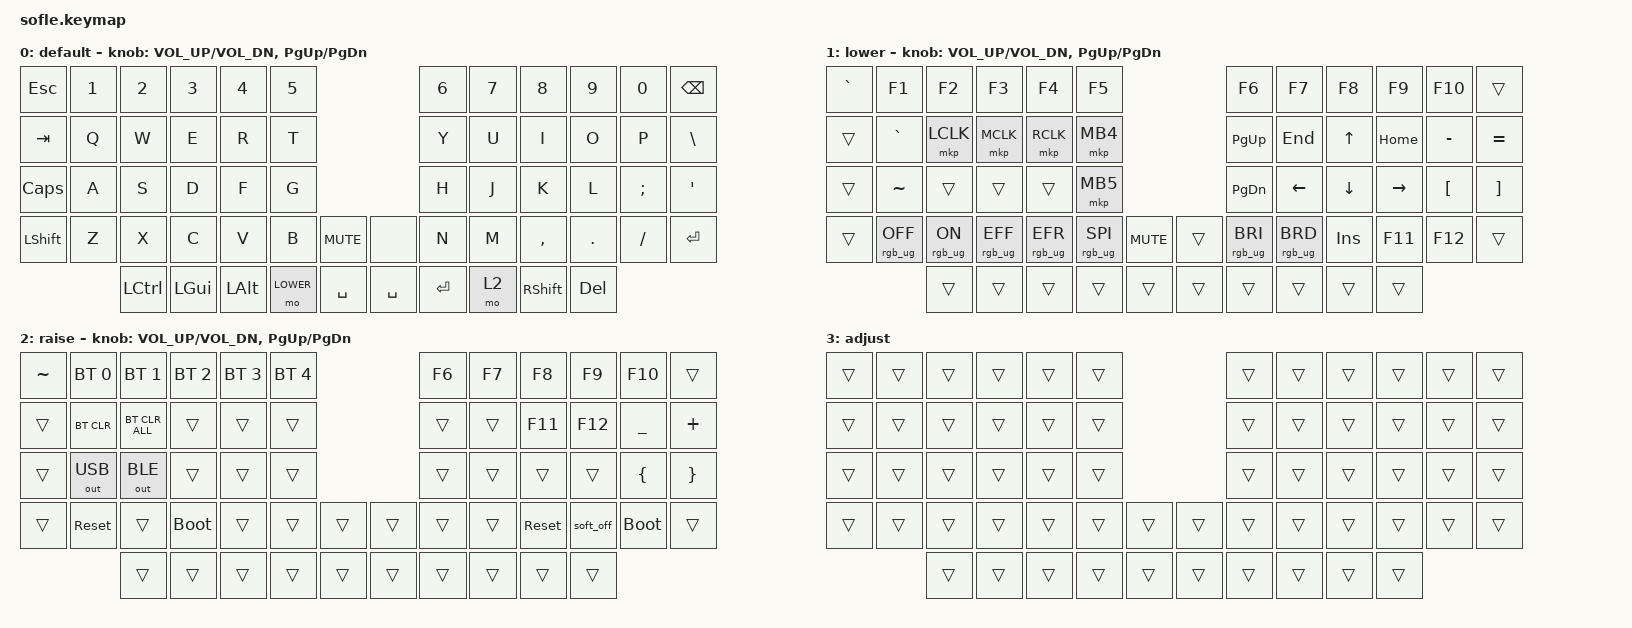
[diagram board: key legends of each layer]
/*
 * Copyright (c) 2020 The ZMK Contributors
 *
 * SPDX-License-Identifier: MIT
 */

#include <behaviors.dtsi>
#include <dt-bindings/zmk/bt.h>
#include <dt-bindings/zmk/keys.h>
#include <dt-bindings/zmk/outputs.h>
#include <dt-bindings/zmk/pointing.h>
#include <dt-bindings/zmk/rgb.h>

#define BASE 0
#define LOWER 1
#define RAISE 2
#define ADJUST 3

/ {
    // Activate ADJUST layer by pressing raise and lower

    conditional_layers {
        compatible = "zmk,conditional-layers";

        adjust_layer {
            if-layers = <LOWER RAISE>;
            then-layer = <ADJUST>;
        };
    };

    keymap {
        compatible = "zmk,keymap";

        default_layer {
            label = "default";

            // ------------------------------------------------------------------------------------------------------------
            // |   `   |  1  |  2  |  3   |  4   |  5   |                   |  6   |  7    |  8    |  9   |   0   |       |
            // |  ESC  |  Q  |  W  |  E   |  R   |  T   |                   |  Y   |  U    |  I    |  O   |   P   | BKSPC |
            // |  TAB  |  A  |  S  |  D   |  F   |  G   |                   |  H   |  J    |  K    |  L   |   ;   |   '   |
            // | SHIFT |  Z  |  X  |  C   |  V   |  B   |  MUTE  |  |       |  N   |  M    |  ,    |  .   |   /   | SHIFT |
            //               | GUI | ALT  | CTRL | LOWER|  ENTER |  | SPACE | RAISE| CTRL  | ALT   | GUI  |

            bindings = <
&kp ESC    &kp N1  &kp N2     &kp N3        &kp N4        &kp N5                              &kp N6     &kp N7  &kp N8           &kp N9      &kp N0    &kp BACKSPACE
&kp TAB    &kp Q   &kp W      &kp E         &kp R         &kp T                               &kp Y      &kp U   &kp I            &kp O       &kp P     &kp BSLH
&kp CAPS   &kp A   &kp S      &kp D         &kp F         &kp G                               &kp H      &kp J   &kp K            &kp L       &kp SEMI  &kp APOS
&kp LSHFT  &kp Z   &kp X      &kp C         &kp V         &kp B      &kp C_MUTE    &none      &kp N      &kp M   &kp COMMA        &kp DOT     &kp FSLH  &kp ENTER
                   &kp LCTRL  &kp LEFT_GUI  &kp LEFT_ALT  &mo LOWER  &kp SPACE     &kp SPACE  &kp ENTER  &mo 2   &kp RIGHT_SHIFT  &kp DELETE
            >;

            sensor-bindings = <&inc_dec_kp C_VOL_UP C_VOL_DN &inc_dec_kp PG_UP PG_DN>;
        };

        lower_layer {
            label = "lower";

            // TODO: Some binds are waiting for shifted keycode support.
            // ------------------------------------------------------------------------------------------------------------
            // |       |  F1 |  F2 |  F3  |  F4  |  F5  |                   |  F6  |  F7   |  F8   |  F9  |  F10  |  F11  |
            // |   `   |  1  |  2  |  3   |  4   |  5   |                   |  6   |  7    |  8    |  9   |   0   |  F12  |
            // |       |  !  |  @  |  #   |  $   |  %   |                   |  ^   |  &    |  *    |  (   |   )   |   |   |
            // |       |  =  |  -  |  +   |  {   |  }   |        |  |       |  [   |  ]    |  ;    |  :   |   \   |       |
            //               |     |      |      |      |        |  |       |      |       |       |      |

            bindings = <
&kp GRAVE  &kp F1           &kp F2          &kp F3           &kp F4           &kp F5                                 &kp F6           &kp F7           &kp F8    &kp F9     &kp F10           &trans
&trans     &kp GRAVE        &mkp LCLK       &mkp MCLK        &mkp RCLK        &mkp MB4                               &kp PG_UP        &kp END          &kp UP    &kp HOME   &kp MINUS         &kp EQUAL
&trans     &kp TILDE        &trans          &trans           &trans           &mkp MB5                               &kp PG_DN        &kp LEFT         &kp DOWN  &kp RIGHT  &kp LEFT_BRACKET  &kp RIGHT_BRACKET
&trans     &rgb_ug RGB_OFF  &rgb_ug RGB_ON  &rgb_ug RGB_EFF  &rgb_ug RGB_EFR  &rgb_ug RGB_SPI  &kp C_MUTE    &trans  &rgb_ug RGB_BRI  &rgb_ug RGB_BRD  &kp INS   &kp F11    &kp F12           &trans
                            &trans          &trans           &trans           &trans           &trans        &trans  &trans           &trans           &trans    &trans
            >;

            sensor-bindings = <&inc_dec_kp C_VOL_UP C_VOL_DN &inc_dec_kp PG_UP PG_DN>;
        };

        raise_layer {
            label = "raise";

            // ------------------------------------------------------------------------------------------------------------
            // | BTCLR | BT1  | BT2  |  BT3  |  BT4  |  BT5 |                |      |      |       |      |       |       |
            // |       | INS  | PSCR | GUI   |       |      |                | PGUP |      |   ^   |      |       |       |
            // |       | ALT  | CTRL | SHIFT |       | CAPS |                | PGDN |   <- |   v   |  ->  |  DEL  | BKSPC |
            // |       | UNDO | CUT  | COPY  | PASTE |      |      |  |      |      |      |       |      |       |       |
            //                |      |       |       |      |      |  |      |      |      |       |      |

            bindings = <
&kp TILDE  &bt BT_SEL 0  &bt BT_SEL 1    &bt BT_SEL 2  &bt BT_SEL 3  &bt BT_SEL 4                    &kp F6  &kp F7  &kp F8      &kp F9     &kp F10      &trans
&trans     &bt BT_CLR    &bt BT_CLR_ALL  &trans        &trans        &trans                          &trans  &trans  &kp F11     &kp F12    &kp UNDER    &kp PLUS
&trans     &out OUT_USB  &out OUT_BLE    &trans        &trans        &trans                          &trans  &trans  &trans      &trans     &kp LBRC     &kp RBRC
&trans     &sys_reset    &trans          &bootloader   &trans        &trans        &trans    &trans  &trans  &trans  &sys_reset  &soft_off  &bootloader  &trans
                         &trans          &trans        &trans        &trans        &trans    &trans  &trans  &trans  &trans      &trans
            >;

            sensor-bindings = <&inc_dec_kp C_VOL_UP C_VOL_DN &inc_dec_kp PG_UP PG_DN>;
        };

        adjust_layer {
            // ----------------------------------------------------------------------------------------------------------------------------
            // | BTCLR  |  BT1    |  BT2    |   BT3   |   BT4   |   BT5   |                  |      |      |       |      |       |       |
            // | EXTPWR | RGB_HUD | RGB_HUI | RGB_SAD | RGB_SAI | RGB_EFF |                  |      |      |       |      |       |       |
            // |        | RGB_BRD | RGB_BRI |         |         |         |                  |      |      |       |      |       |       |
            // |        |         |         |         |         |         | RGB_TOG | |      |      |      |       |      |       |       |
            //                    |         |         |         |         |         | |      |      |      |       |      |

            label = "adjust";
            bindings = <
&trans  &trans  &trans  &trans  &trans  &trans                    &trans  &trans  &trans  &trans  &trans  &trans
&trans  &trans  &trans  &trans  &trans  &trans                    &trans  &trans  &trans  &trans  &trans  &trans
&trans  &trans  &trans  &trans  &trans  &trans                    &trans  &trans  &trans  &trans  &trans  &trans
&trans  &trans  &trans  &trans  &trans  &trans  &trans    &trans  &trans  &trans  &trans  &trans  &trans  &trans
                &trans  &trans  &trans  &trans  &trans    &trans  &trans  &trans  &trans  &trans
            >;
        };
    };
};
